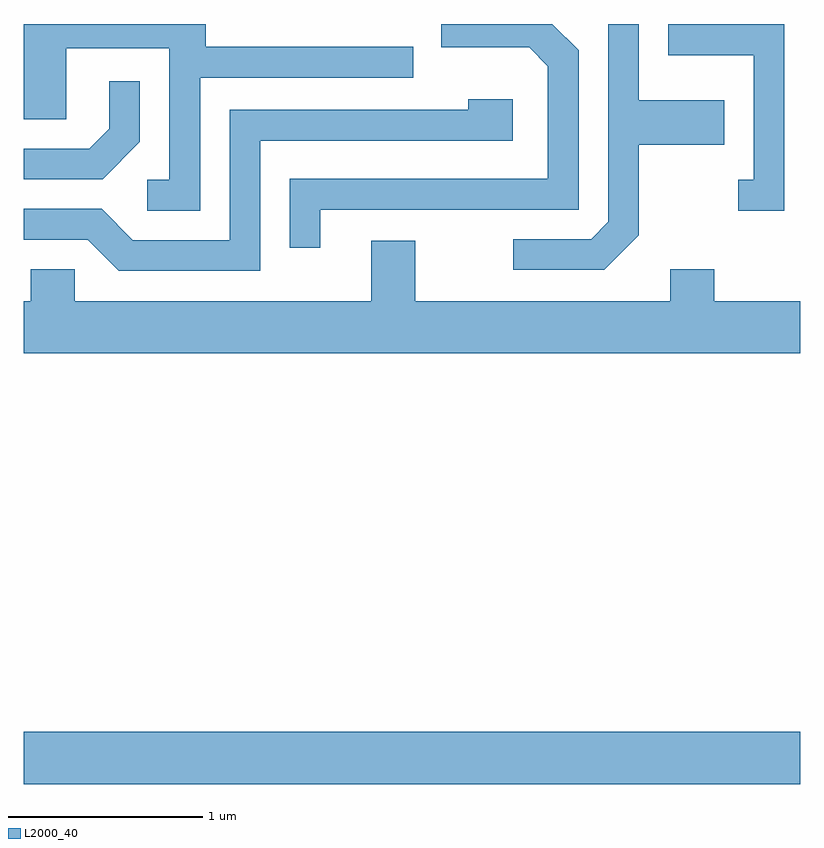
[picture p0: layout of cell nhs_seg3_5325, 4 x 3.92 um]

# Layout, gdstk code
import gdstk
lib = gdstk.Library(unit=1e-6, precision=1e-09)
def R(c, l, rs):  # rectangles x0, y0, x1, y1
    for r in rs: c.add(gdstk.rectangle(r[:2], r[2:], *l))
def P(c, l, *ps):  # polygons
    for p in ps: c.add(gdstk.Polygon(p, *l))
L2000_40 = (2000, 40)

nhs_seg3_5325 = lib.new_cell('nhs_seg3_5325')
R(nhs_seg3_5325, L2000_40, [(341.611,1165.976,345.611,1166.244)])
P(nhs_seg3_5325, L2000_40, [(343.139,1168.936),(344.469,1168.936),(344.469,1169.757),(344.334,1169.892),(343.761,1169.892),(343.761,1169.771),(344.214,1169.771),(344.311,1169.674),(344.311,1169.094),(342.981,1169.094),(342.981,1168.738),(343.139,1168.738)],
  [(345.529,1169.892),(344.931,1169.892),(344.931,1169.731),(345.371,1169.731),(345.371,1169.089),(345.293,1169.089),(345.293,1168.931),(345.529,1168.931)],
  [(344.779,1168.804),(344.779,1169.271),(345.219,1169.271),(345.219,1169.499),(344.779,1169.499),(344.779,1169.892),(344.621,1169.892),(344.621,1168.872),(344.534,1168.784),(344.133,1168.784),(344.133,1168.626),(344.602,1168.626)],
  [(342.519,1169.616),(343.618,1169.616),(343.618,1169.774),(342.549,1169.774),(342.549,1169.892),(341.611,1169.892),(341.611,1169.401),(341.829,1169.401),(341.829,1169.766),(342.361,1169.766),(342.361,1169.089),(342.248,1169.089),(342.248,1168.931),(342.519,1168.931)],
  [(342.209,1169.284),(342.209,1169.598),(342.051,1169.598),(342.051,1169.352),(341.949,1169.249),(341.611,1169.249),(341.611,1169.091),(342.017,1169.091)],
  [(342.829,1169.291),(344.129,1169.291),(344.129,1169.504),(343.901,1169.504),(343.901,1169.449),(342.671,1169.449),(342.671,1168.779),(342.172,1168.779),(342.012,1168.939),(341.611,1168.939),(341.611,1168.781),(341.939,1168.781),(342.099,1168.621),(342.829,1168.621)],
  [(345.611,1168.464),(345.169,1168.464),(345.169,1168.629),(344.941,1168.629),(344.941,1168.464),(343.629,1168.464),(343.629,1168.774),(343.401,1168.774),(343.401,1168.464),(341.874,1168.464),(341.874,1168.629),(341.646,1168.629),(341.646,1168.464),(341.611,1168.464),(341.611,1168.196),(345.611,1168.196)])

lib.write_gds('nhs_seg3_5325.gds')
